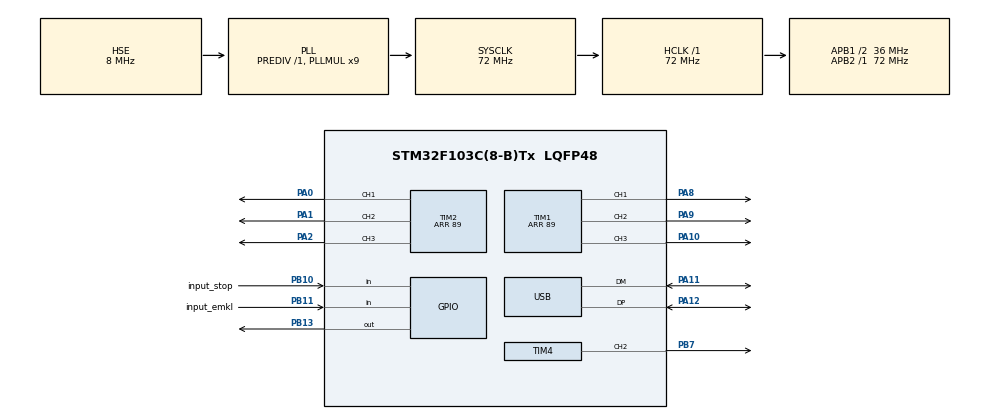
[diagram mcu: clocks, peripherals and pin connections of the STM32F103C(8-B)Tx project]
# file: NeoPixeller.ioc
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Dma.Request0=TIM1_CH1
Dma.Request1=TIM1_CH2
Dma.Request2=TIM1_CH3
Dma.Request3=TIM2_CH1
Dma.Request4=TIM2_CH2/CH4
Dma.Request5=TIM2_CH3
Dma.Request6=TIM4_CH2
Dma.TIM1_CH1.0.Direction=DMA_MEMORY_TO_PERIPH
Dma.TIM1_CH1.0.Instance=DMA1_Channel2
Dma.TIM1_CH1.0.MemDataAlignment=DMA_MDATAALIGN_BYTE
Dma.TIM1_CH1.0.MemInc=DMA_MINC_ENABLE
Dma.TIM1_CH1.0.Mode=DMA_NORMAL
Dma.TIM1_CH1.0.PeriphDataAlignment=DMA_PDATAALIGN_HALFWORD
Dma.TIM1_CH1.0.PeriphInc=DMA_PINC_DISABLE
Dma.TIM1_CH1.0.Priority=DMA_PRIORITY_HIGH
Dma.TIM1_CH2.1.Direction=DMA_MEMORY_TO_PERIPH
Dma.TIM1_CH2.1.Instance=DMA1_Channel3
Dma.TIM1_CH2.1.MemDataAlignment=DMA_MDATAALIGN_BYTE
Dma.TIM1_CH2.1.MemInc=DMA_MINC_ENABLE
Dma.TIM1_CH2.1.Mode=DMA_NORMAL
Dma.TIM1_CH2.1.PeriphDataAlignment=DMA_PDATAALIGN_HALFWORD
Dma.TIM1_CH2.1.PeriphInc=DMA_PINC_DISABLE
Dma.TIM1_CH2.1.Priority=DMA_PRIORITY_HIGH
Dma.TIM1_CH3.2.Direction=DMA_MEMORY_TO_PERIPH
Dma.TIM1_CH3.2.Instance=DMA1_Channel6
Dma.TIM1_CH3.2.MemDataAlignment=DMA_MDATAALIGN_BYTE
Dma.TIM1_CH3.2.MemInc=DMA_MINC_ENABLE
Dma.TIM1_CH3.2.Mode=DMA_NORMAL
Dma.TIM1_CH3.2.PeriphDataAlignment=DMA_PDATAALIGN_HALFWORD
Dma.TIM1_CH3.2.PeriphInc=DMA_PINC_DISABLE
Dma.TIM1_CH3.2.Priority=DMA_PRIORITY_HIGH
Dma.TIM2_CH1.3.Direction=DMA_MEMORY_TO_PERIPH
Dma.TIM2_CH1.3.Instance=DMA1_Channel5
Dma.TIM2_CH1.3.MemDataAlignment=DMA_MDATAALIGN_BYTE
Dma.TIM2_CH1.3.MemInc=DMA_MINC_ENABLE
Dma.TIM2_CH1.3.Mode=DMA_NORMAL
Dma.TIM2_CH1.3.PeriphDataAlignment=DMA_PDATAALIGN_HALFWORD
Dma.TIM2_CH1.3.PeriphInc=DMA_PINC_DISABLE
Dma.TIM2_CH1.3.Priority=DMA_PRIORITY_HIGH
Dma.TIM2_CH2/CH4.4.Direction=DMA_MEMORY_TO_PERIPH
Dma.TIM2_CH2/CH4.4.Instance=DMA1_Channel7
Dma.TIM2_CH2/CH4.4.MemDataAlignment=DMA_MDATAALIGN_BYTE
Dma.TIM2_CH2/CH4.4.MemInc=DMA_MINC_ENABLE
Dma.TIM2_CH2/CH4.4.Mode=DMA_NORMAL
Dma.TIM2_CH2/CH4.4.PeriphDataAlignment=DMA_PDATAALIGN_HALFWORD
Dma.TIM2_CH2/CH4.4.PeriphInc=DMA_PINC_DISABLE
Dma.TIM2_CH2/CH4.4.Priority=DMA_PRIORITY_HIGH
Dma.TIM2_CH3.5.Direction=DMA_MEMORY_TO_PERIPH
Dma.TIM2_CH3.5.Instance=DMA1_Channel1
Dma.TIM2_CH3.5.MemDataAlignment=DMA_MDATAALIGN_BYTE
Dma.TIM2_CH3.5.MemInc=DMA_MINC_ENABLE
Dma.TIM2_CH3.5.Mode=DMA_NORMAL
Dma.TIM2_CH3.5.PeriphDataAlignment=DMA_PDATAALIGN_HALFWORD
Dma.TIM2_CH3.5.PeriphInc=DMA_PINC_DISABLE
Dma.TIM2_CH3.5.Priority=DMA_PRIORITY_HIGH
Dma.TIM4_CH2.6.Direction=DMA_MEMORY_TO_PERIPH
Dma.TIM4_CH2.6.Instance=DMA1_Channel4
Dma.TIM4_CH2.6.MemDataAlignment=DMA_MDATAALIGN_BYTE
Dma.TIM4_CH2.6.MemInc=DMA_MINC_ENABLE
Dma.TIM4_CH2.6.Mode=DMA_NORMAL
Dma.TIM4_CH2.6.PeriphDataAlignment=DMA_PDATAALIGN_HALFWORD
Dma.TIM4_CH2.6.PeriphInc=DMA_PINC_DISABLE
Dma.TIM4_CH2.6.Priority=DMA_PRIORITY_HIGH
Mcu.Family=STM32F1
Mcu.Name=STM32F103C(8-B)Tx
Mcu.Package=LQFP48
NVIC.DMA1_Channel1_IRQn=true\:0\:0\:false\:false\:true\:false\:true\:true
NVIC.DMA1_Channel2_IRQn=true\:0\:0\:false\:false\:true\:false\:true\:true
NVIC.DMA1_Channel3_IRQn=true\:0\:0\:false\:false\:true\:false\:true\:true
NVIC.DMA1_Channel4_IRQn=true\:0\:0\:false\:false\:true\:false\:true\:true
NVIC.DMA1_Channel5_IRQn=true\:0\:0\:false\:false\:true\:false\:true\:true
NVIC.DMA1_Channel6_IRQn=true\:0\:0\:false\:false\:true\:false\:true\:true
NVIC.DMA1_Channel7_IRQn=true\:0\:0\:false\:false\:true\:false\:true\:true
NVIC.PriorityGroup=NVIC_PRIORITYGROUP_4
NVIC.USB_LP_CAN1_RX0_IRQn=true\:0\:0\:false\:false\:true\:false\:true\:true
PA0-WKUP.Signal=S_TIM2_CH1_ETR
PA1.Signal=S_TIM2_CH2
PA10.Signal=S_TIM1_CH3
PA11.Mode=Device
PA11.Signal=USB_DM
PA12.Mode=Device
PA12.Signal=USB_DP
PA13.Mode=Serial_Wire
PA13.Signal=SYS_JTMS-SWDIO
PA14.Mode=Serial_Wire
PA14.Signal=SYS_JTCK-SWCLK
PA2.Signal=S_TIM2_CH3
PA8.Signal=S_TIM1_CH1
PA9.Signal=S_TIM1_CH2
PB10.GPIO_Label=input_stop
PB10.GPIO_PuPd=GPIO_PULLDOWN
PB10.Signal=GPIO_Input
PB11.GPIO_Label=input_emkl
PB11.GPIO_PuPd=GPIO_PULLDOWN
PB11.Signal=GPIO_Input
PB13.Signal=GPIO_Output
PB7.Signal=S_TIM4_CH2
PC14-OSC32_IN.Mode=LSE-External-Oscillator
PC14-OSC32_IN.Signal=RCC_OSC32_IN
PC15-OSC32_OUT.Mode=LSE-External-Oscillator
PC15-OSC32_OUT.Signal=RCC_OSC32_OUT
PD0-OSC_IN.Mode=HSE-External-Oscillator
PD0-OSC_IN.Signal=RCC_OSC_IN
PD1-OSC_OUT.Mode=HSE-External-Oscillator
PD1-OSC_OUT.Signal=RCC_OSC_OUT
ProjectManager.HeapSize=0x200
ProjectManager.StackSize=0x400
ProjectManager.TargetToolchain=STM32CubeIDE
RCC.AHBFreq_Value=72000000
RCC.APB1CLKDivider=RCC_HCLK_DIV2
RCC.APB1Freq_Value=36000000
RCC.APB1TimFreq_Value=72000000
RCC.APB2Freq_Value=72000000
RCC.APB2TimFreq_Value=72000000
RCC.HCLKFreq_Value=72000000
RCC.PLLMUL=RCC_PLL_MUL9
RCC.PLLSourceVirtual=RCC_PLLSOURCE_HSE
RCC.SYSCLKFreq_VALUE=72000000
RCC.SYSCLKSource=RCC_SYSCLKSOURCE_PLLCLK
RCC.USBFreq_Value=48000000
RCC.USBPrescaler=RCC_USBCLKSOURCE_PLL_DIV1_5
SH.S_TIM1_CH1.0=TIM1_CH1,PWM Generation1 CH1
SH.S_TIM1_CH2.0=TIM1_CH2,PWM Generation2 CH2
SH.S_TIM1_CH3.0=TIM1_CH3,PWM Generation3 CH3
SH.S_TIM2_CH1_ETR.0=TIM2_CH1,PWM Generation1 CH1
SH.S_TIM2_CH2.0=TIM2_CH2,PWM Generation2 CH2
SH.S_TIM2_CH3.0=TIM2_CH3,PWM Generation3 CH3
SH.S_TIM4_CH2.0=TIM4_CH2,PWM Generation2 CH2
TIM1.Channel-PWM\ Generation1\ CH1=TIM_CHANNEL_1
TIM1.Channel-PWM\ Generation2\ CH2=TIM_CHANNEL_2
TIM1.Channel-PWM\ Generation3\ CH3=TIM_CHANNEL_3
TIM1.Period=89
TIM2.Channel-PWM\ Generation1\ CH1=TIM_CHANNEL_1
TIM2.Channel-PWM\ Generation2\ CH2=TIM_CHANNEL_2
TIM2.Channel-PWM\ Generation3\ CH3=TIM_CHANNEL_3
TIM2.Period=89
TIM4.Channel-PWM\ Generation2\ CH2=TIM_CHANNEL_2
TIM4.Period=89
USB_DEVICE.CLASS_NAME_FS=CDC
USB_DEVICE.VirtualMode=Cdc
USB_DEVICE.VirtualModeFS=Cdc_FS
VP_USB_DEVICE_VS_USB_DEVICE_CDC_FS.Mode=CDC_FS
board=custom

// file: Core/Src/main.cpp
/* USER CODE BEGIN Header */
/**
  ******************************************************************************
  * @file           : main.c
  * @brief          : Main program body
  ******************************************************************************
  * @attention
  *
  * Copyright (c) 2022 STMicroelectronics.
  * All rights reserved.
  *
  * This software is licensed under terms that can be found in the LICENSE file
  * in the root directory of this software component.
  * If no LICENSE file comes with this software, it is provided AS-IS.
  *
  ******************************************************************************
  */
/* USER CODE END Header */
#include "main.h"
#include "usb_device.h"

/* USER CODE BEGIN Includes */
#include "NeoPixel.h"

/* USER CODE END Includes */

TIM_HandleTypeDef htim1;
TIM_HandleTypeDef htim2;
TIM_HandleTypeDef htim4;
DMA_HandleTypeDef hdma_tim1_ch1;
DMA_HandleTypeDef hdma_tim1_ch2;
DMA_HandleTypeDef hdma_tim1_ch3;
DMA_HandleTypeDef hdma_tim2_ch1;
DMA_HandleTypeDef hdma_tim2_ch2_ch4;
DMA_HandleTypeDef hdma_tim2_ch3;
DMA_HandleTypeDef hdma_tim4_ch2;

void SystemClock_Config(void);
static void MX_GPIO_Init(void);
static void MX_DMA_Init(void);
static void MX_TIM1_Init(void);
static void MX_TIM2_Init(void);
static void MX_TIM4_Init(void);

int main(void)
{

  /* MCU Configuration--------------------------------------------------------*/

  /* Reset of all peripherals, Initializes the Flash interface and the Systick. */
  HAL_Init();

  /* Configure the system clock */
  SystemClock_Config();

  /* Initialize all configured peripherals */
  MX_GPIO_Init();
  MX_DMA_Init();
  MX_TIM1_Init();
  MX_USB_DEVICE_Init();
  MX_TIM2_Init();
  MX_TIM4_Init();
  /* USER CODE BEGIN 2 */
  ws2812::NeoPixel pixels[] = {
		  ws2812::NeoPixel(&htim1, TIM_CHANNEL_1, &hdma_tim1_ch1, 45, 22),
		  ws2812::NeoPixel(&htim1, TIM_CHANNEL_2, &hdma_tim1_ch2, 45, 22),
		  ws2812::NeoPixel(&htim1, TIM_CHANNEL_3, &hdma_tim1_ch3, 45, 22),
		  ws2812::NeoPixel(&htim4, TIM_CHANNEL_2, &hdma_tim1_ch2, 45, 22)
  };

  constexpr ws2812::color _yellow = {48, 24, 0};
  constexpr ws2812::color _blue   = {0, 24, 128};
  constexpr ws2812::color _green  = {0, 48, 0};
  constexpr ws2812::color _red    = {48, 0, 0};
  constexpr ws2812::color _purple = {24, 0, 72};
  constexpr ws2812::color _white  = {12, 16, 32};
  constexpr ws2812::color _full   = {255, 255, 255};

  ws2812::color light_color;

  /* USER CODE END 2 */

  /* Infinite loop */
  while (1)
  {

    /* USER CODE BEGIN 3 */
    int input_emkl = HAL_GPIO_ReadPin(input_emkl_GPIO_Port, input_emkl_Pin);
    int input_stop = HAL_GPIO_ReadPin(input_stop_GPIO_Port, input_stop_Pin);
	  if(input_emkl){
      light_color = _red;
    }else if(input_stop){
      light_color = _yellow;
    }else{
      light_color = _blue;
    }
	for(int i = 0; i < 4; i++){
	  for(int j = 0; j < 52; j++){
		  pixels[i].colors[j] = light_color;
	  }
	  pixels[i].rend();
	}
	HAL_Delay(1);
  }
  /* USER CODE END 3 */
}

void SystemClock_Config(void)
{
  RCC_OscInitTypeDef RCC_OscInitStruct = {0};
  RCC_ClkInitTypeDef RCC_ClkInitStruct = {0};
  RCC_PeriphCLKInitTypeDef PeriphClkInit = {0};

  /** Initializes the RCC Oscillators according to the specified parameters
  * in the RCC_OscInitTypeDef structure.
  */
  RCC_OscInitStruct.OscillatorType = RCC_OSCILLATORTYPE_HSE;
  RCC_OscInitStruct.HSEState = RCC_HSE_ON;
  RCC_OscInitStruct.HSEPredivValue = RCC_HSE_PREDIV_DIV1;
  RCC_OscInitStruct.HSIState = RCC_HSI_ON;
  RCC_OscInitStruct.PLL.PLLState = RCC_PLL_ON;
  RCC_OscInitStruct.PLL.PLLSource = RCC_PLLSOURCE_HSE;
  RCC_OscInitStruct.PLL.PLLMUL = RCC_PLL_MUL9;
  if (HAL_RCC_OscConfig(&RCC_OscInitStruct) != HAL_OK)
  {
    Error_Handler();
  }

  /** Initializes the CPU, AHB and APB buses clocks
  */
  RCC_ClkInitStruct.ClockType = RCC_CLOCKTYPE_HCLK|RCC_CLOCKTYPE_SYSCLK
                              |RCC_CLOCKTYPE_PCLK1|RCC_CLOCKTYPE_PCLK2;
  RCC_ClkInitStruct.SYSCLKSource = RCC_SYSCLKSOURCE_PLLCLK;
  RCC_ClkInitStruct.AHBCLKDivider = RCC_SYSCLK_DIV1;
  RCC_ClkInitStruct.APB1CLKDivider = RCC_HCLK_DIV2;
  RCC_ClkInitStruct.APB2CLKDivider = RCC_HCLK_DIV1;

  if (HAL_RCC_ClockConfig(&RCC_ClkInitStruct, FLASH_LATENCY_2) != HAL_OK)
  {
    Error_Handler();
  }
  PeriphClkInit.PeriphClockSelection = RCC_PERIPHCLK_USB;
  PeriphClkInit.UsbClockSelection = RCC_USBCLKSOURCE_PLL_DIV1_5;
  if (HAL_RCCEx_PeriphCLKConfig(&PeriphClkInit) != HAL_OK)
  {
    Error_Handler();
  }
}

static void MX_TIM1_Init(void)
{

  TIM_MasterConfigTypeDef sMasterConfig = {0};
  TIM_OC_InitTypeDef sConfigOC = {0};
  TIM_BreakDeadTimeConfigTypeDef sBreakDeadTimeConfig = {0};

  htim1.Instance = TIM1;
  htim1.Init.Prescaler = 0;
  htim1.Init.CounterMode = TIM_COUNTERMODE_UP;
  htim1.Init.Period = 89;
  htim1.Init.ClockDivision = TIM_CLOCKDIVISION_DIV1;
  htim1.Init.RepetitionCounter = 0;
  htim1.Init.AutoReloadPreload = TIM_AUTORELOAD_PRELOAD_DISABLE;
  if (HAL_TIM_PWM_Init(&htim1) != HAL_OK)
  {
    Error_Handler();
  }
  sMasterConfig.MasterOutputTrigger = TIM_TRGO_RESET;
  sMasterConfig.MasterSlaveMode = TIM_MASTERSLAVEMODE_DISABLE;
  if (HAL_TIMEx_MasterConfigSynchronization(&htim1, &sMasterConfig) != HAL_OK)
  {
    Error_Handler();
  }
  sConfigOC.OCMode = TIM_OCMODE_PWM1;
  sConfigOC.Pulse = 0;
  sConfigOC.OCPolarity = TIM_OCPOLARITY_HIGH;
  sConfigOC.OCNPolarity = TIM_OCNPOLARITY_HIGH;
  sConfigOC.OCFastMode = TIM_OCFAST_DISABLE;
  sConfigOC.OCIdleState = TIM_OCIDLESTATE_RESET;
  sConfigOC.OCNIdleState = TIM_OCNIDLESTATE_RESET;
  if (HAL_TIM_PWM_ConfigChannel(&htim1, &sConfigOC, TIM_CHANNEL_1) != HAL_OK)
  {
    Error_Handler();
  }
  if (HAL_TIM_PWM_ConfigChannel(&htim1, &sConfigOC, TIM_CHANNEL_2) != HAL_OK)
  {
    Error_Handler();
  }
  if (HAL_TIM_PWM_ConfigChannel(&htim1, &sConfigOC, TIM_CHANNEL_3) != HAL_OK)
  {
    Error_Handler();
  }
  sBreakDeadTimeConfig.OffStateRunMode = TIM_OSSR_DISABLE;
  sBreakDeadTimeConfig.OffStateIDLEMode = TIM_OSSI_DISABLE;
  sBreakDeadTimeConfig.LockLevel = TIM_LOCKLEVEL_OFF;
  sBreakDeadTimeConfig.DeadTime = 0;
  sBreakDeadTimeConfig.BreakState = TIM_BREAK_DISABLE;
  sBreakDeadTimeConfig.BreakPolarity = TIM_BREAKPOLARITY_HIGH;
  sBreakDeadTimeConfig.AutomaticOutput = TIM_AUTOMATICOUTPUT_DISABLE;
  if (HAL_TIMEx_ConfigBreakDeadTime(&htim1, &sBreakDeadTimeConfig) != HAL_OK)
  {
    Error_Handler();
  }
  HAL_TIM_MspPostInit(&htim1);

}

static void MX_TIM2_Init(void)
{

  TIM_MasterConfigTypeDef sMasterConfig = {0};
  TIM_OC_InitTypeDef sConfigOC = {0};

  htim2.Instance = TIM2;
  htim2.Init.Prescaler = 0;
  htim2.Init.CounterMode = TIM_COUNTERMODE_UP;
  htim2.Init.Period = 89;
  htim2.Init.ClockDivision = TIM_CLOCKDIVISION_DIV1;
  htim2.Init.AutoReloadPreload = TIM_AUTORELOAD_PRELOAD_DISABLE;
  if (HAL_TIM_PWM_Init(&htim2) != HAL_OK)
  {
    Error_Handler();
  }
  sMasterConfig.MasterOutputTrigger = TIM_TRGO_RESET;
  sMasterConfig.MasterSlaveMode = TIM_MASTERSLAVEMODE_DISABLE;
  if (HAL_TIMEx_MasterConfigSynchronization(&htim2, &sMasterConfig) != HAL_OK)
  {
    Error_Handler();
  }
  sConfigOC.OCMode = TIM_OCMODE_PWM1;
  sConfigOC.Pulse = 0;
  sConfigOC.OCPolarity = TIM_OCPOLARITY_HIGH;
  sConfigOC.OCFastMode = TIM_OCFAST_DISABLE;
  if (HAL_TIM_PWM_ConfigChannel(&htim2, &sConfigOC, TIM_CHANNEL_1) != HAL_OK)
  {
    Error_Handler();
  }
  if (HAL_TIM_PWM_ConfigChannel(&htim2, &sConfigOC, TIM_CHANNEL_2) != HAL_OK)
  {
    Error_Handler();
  }
  if (HAL_TIM_PWM_ConfigChannel(&htim2, &sConfigOC, TIM_CHANNEL_3) != HAL_OK)
  {
    Error_Handler();
  }
  HAL_TIM_MspPostInit(&htim2);

}

static void MX_TIM4_Init(void)
{

  TIM_MasterConfigTypeDef sMasterConfig = {0};
  TIM_OC_InitTypeDef sConfigOC = {0};

  htim4.Instance = TIM4;
  htim4.Init.Prescaler = 0;
  htim4.Init.CounterMode = TIM_COUNTERMODE_UP;
  htim4.Init.Period = 89;
  htim4.Init.ClockDivision = TIM_CLOCKDIVISION_DIV1;
  htim4.Init.AutoReloadPreload = TIM_AUTORELOAD_PRELOAD_DISABLE;
  if (HAL_TIM_PWM_Init(&htim4) != HAL_OK)
  {
    Error_Handler();
  }
  sMasterConfig.MasterOutputTrigger = TIM_TRGO_RESET;
  sMasterConfig.MasterSlaveMode = TIM_MASTERSLAVEMODE_DISABLE;
  if (HAL_TIMEx_MasterConfigSynchronization(&htim4, &sMasterConfig) != HAL_OK)
  {
    Error_Handler();
  }
  sConfigOC.OCMode = TIM_OCMODE_PWM1;
  sConfigOC.Pulse = 0;
  sConfigOC.OCPolarity = TIM_OCPOLARITY_HIGH;
  sConfigOC.OCFastMode = TIM_OCFAST_DISABLE;
  if (HAL_TIM_PWM_ConfigChannel(&htim4, &sConfigOC, TIM_CHANNEL_2) != HAL_OK)
  {
    Error_Handler();
  }
  HAL_TIM_MspPostInit(&htim4);

}

static void MX_DMA_Init(void)
{

  /* DMA controller clock enable */
  __HAL_RCC_DMA1_CLK_ENABLE();

  /* DMA interrupt init */
  /* DMA1_Channel1_IRQn interrupt configuration */
  HAL_NVIC_SetPriority(DMA1_Channel1_IRQn, 0, 0);
  HAL_NVIC_EnableIRQ(DMA1_Channel1_IRQn);
  /* DMA1_Channel2_IRQn interrupt configuration */
  HAL_NVIC_SetPriority(DMA1_Channel2_IRQn, 0, 0);
  HAL_NVIC_EnableIRQ(DMA1_Channel2_IRQn);
  /* DMA1_Channel3_IRQn interrupt configuration */
  HAL_NVIC_SetPriority(DMA1_Channel3_IRQn, 0, 0);
  HAL_NVIC_EnableIRQ(DMA1_Channel3_IRQn);
  /* DMA1_Channel4_IRQn interrupt configuration */
  HAL_NVIC_SetPriority(DMA1_Channel4_IRQn, 0, 0);
  HAL_NVIC_EnableIRQ(DMA1_Channel4_IRQn);
  /* DMA1_Channel5_IRQn interrupt configuration */
  HAL_NVIC_SetPriority(DMA1_Channel5_IRQn, 0, 0);
  HAL_NVIC_EnableIRQ(DMA1_Channel5_IRQn);
  /* DMA1_Channel6_IRQn interrupt configuration */
  HAL_NVIC_SetPriority(DMA1_Channel6_IRQn, 0, 0);
  HAL_NVIC_EnableIRQ(DMA1_Channel6_IRQn);
  /* DMA1_Channel7_IRQn interrupt configuration */
  HAL_NVIC_SetPriority(DMA1_Channel7_IRQn, 0, 0);
  HAL_NVIC_EnableIRQ(DMA1_Channel7_IRQn);

}

static void MX_GPIO_Init(void)
{
  GPIO_InitTypeDef GPIO_InitStruct = {0};

  /* GPIO Ports Clock Enable */
  __HAL_RCC_GPIOC_CLK_ENABLE();
  __HAL_RCC_GPIOD_CLK_ENABLE();
  __HAL_RCC_GPIOA_CLK_ENABLE();
  __HAL_RCC_GPIOB_CLK_ENABLE();

  /*Configure GPIO pin Output Level */
  HAL_GPIO_WritePin(GPIOB, GPIO_PIN_13, GPIO_PIN_RESET);

  /*Configure GPIO pins : input_stop_Pin input_emkl_Pin */
  GPIO_InitStruct.Pin = input_stop_Pin|input_emkl_Pin;
  GPIO_InitStruct.Mode = GPIO_MODE_INPUT;
  GPIO_InitStruct.Pull = GPIO_PULLDOWN;
  HAL_GPIO_Init(GPIOB, &GPIO_InitStruct);

  /*Configure GPIO pin : PB13 */
  GPIO_InitStruct.Pin = GPIO_PIN_13;
  GPIO_InitStruct.Mode = GPIO_MODE_OUTPUT_PP;
  GPIO_InitStruct.Pull = GPIO_NOPULL;
  GPIO_InitStruct.Speed = GPIO_SPEED_FREQ_LOW;
  HAL_GPIO_Init(GPIOB, &GPIO_InitStruct);

}

void Error_Handler(void)
{
  __disable_irq();
  while (1)
  {
  }
}
